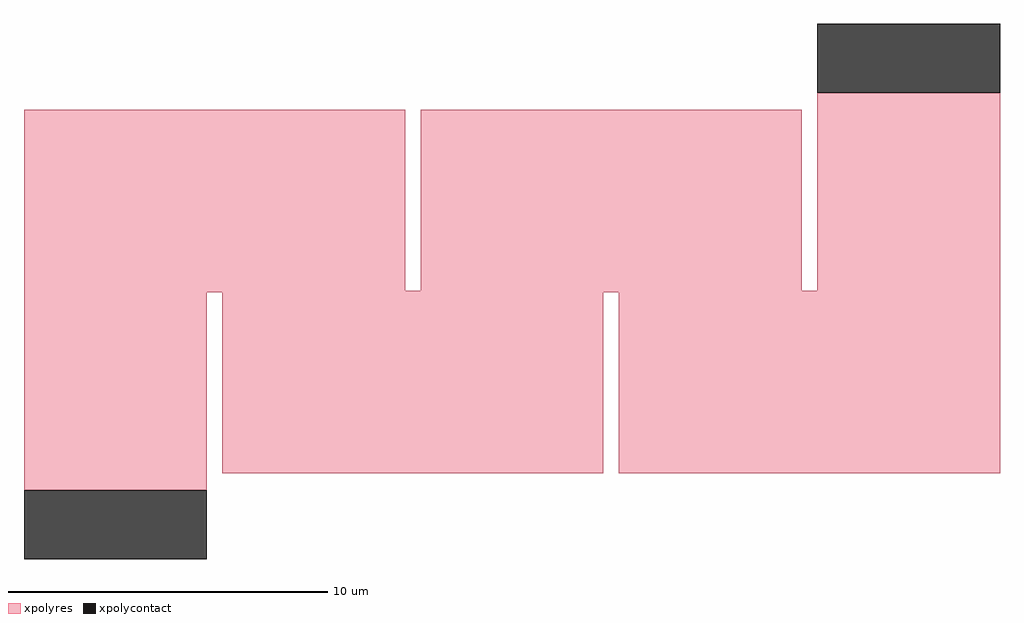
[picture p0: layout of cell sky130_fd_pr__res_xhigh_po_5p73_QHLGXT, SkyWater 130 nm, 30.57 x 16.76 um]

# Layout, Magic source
magic
tech sky130A
magscale 1 2
<< xpolycontact >>
rect 1911 1244 3057 1676
rect -3057 -1676 -1911 -1244
<< xpolyres >>
rect -3057 6 -669 1140
rect -573 6 1815 1140
rect 1911 6 3057 1244
rect -3057 -6 3057 6
rect -3057 -1244 -1911 -6
rect -1815 -1140 573 -6
rect 669 -1140 3057 -6
<< properties >>
string gencell sky130_fd_pr__res_xhigh_po_5p73
string library sky130
string parameters w 5.730 l 11.4 m 1 nx 5 wmin 5.730 lmin 0.50 rho 2000 val 27.96k dummy 0 dw 0.0 term 188.2 sterm 0.0 caplen 0 wmax 5.730 guard 0 glc 0 grc 0 gtc 0 gbc 0 compatible {sky130_fd_pr__res_xhigh_po_0p35  sky130_fd_pr__res_xhigh_po_0p69 sky130_fd_pr__res_xhigh_po_1p41  sky130_fd_pr__res_xhigh_po_2p85 sky130_fd_pr__res_xhigh_po_5p73} snake 1 full_metal 0 n_guard 0 hv_guard 0 vias 1 viagb 0 viagt 0 viagl 0 viagr 0
string sky130_fd_pr__res_xhigh_po_5p73_QHLGXT parameters
<< end >>
